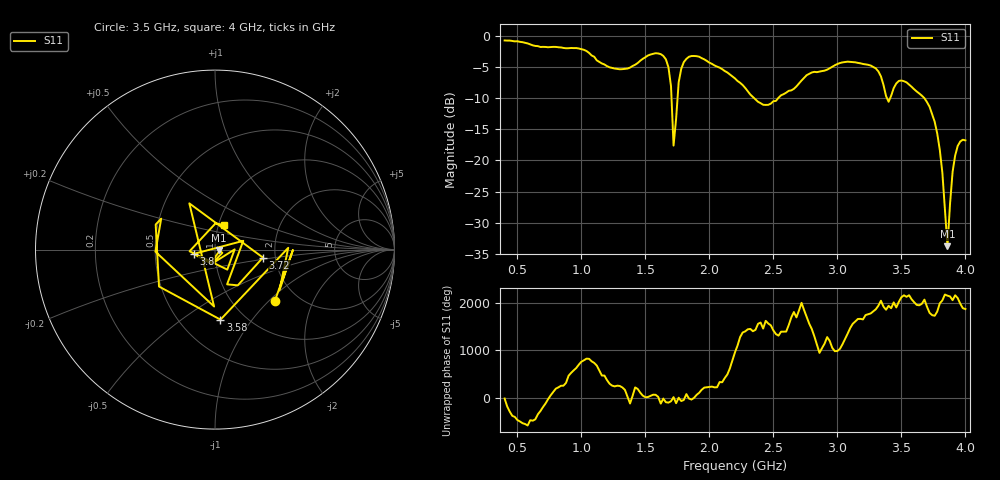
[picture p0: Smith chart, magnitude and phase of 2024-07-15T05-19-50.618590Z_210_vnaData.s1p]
!Created with skrf (http://scikit-rf.org).
# Hz S RI R 50.0
!freq ReS11 ImS11
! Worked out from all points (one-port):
!   181 points, 400 MHz to 4 GHz, reference 50 ohm
!   lowest |S11| = -33.8 dB at 3.86 GHz (marker M1), VSWR 1.04, Z = 52.1 - j0.291 ohm
!   |S11| at or under -10 dB: 1.704 GHz to 1.751 GHz (47.04 MHz wide, 2.72 % of centre); 2.351 GHz to 2.536 GHz (185.1 MHz wide, 7.58 % of centre); 3.681 GHz to end of sweep (the widest 3 of 4)
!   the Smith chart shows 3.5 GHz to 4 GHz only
!   S11 on the Smith chart (normalised r, x): 3.5 GHz: 1.53, -1.09; 3.58 GHz: 0.78, -0.71; 3.72 GHz: 1.72, -0.16; 3.8 GHz: 0.79, -0.04; 4 GHz: 1.06, +0.30
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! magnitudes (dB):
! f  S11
! 400 MHz  -0.7
! 860 MHz  -1.9
! 1.3 GHz  -5.3
! 1.58 GHz  -2.7
! 1.66 GHz  -3.7
! 1.7 GHz  -8.0
! 1.72 GHz  -17.6
! 1.76 GHz  -7.4
! 1.8 GHz  -4.2
! 1.86 GHz  -3.2
! 2.2 GHz  -6.8
! 2.42 GHz  -11.0
! 2.66 GHz  -8.5
! 2.8 GHz  -5.8
! 3.1 GHz  -4.1
! 3.3 GHz  -5.2
! 3.4 GHz  -10.6
! 3.5 GHz  -7.1
! 3.56 GHz  -7.8
! 3.58 GHz  -8.1
! 3.72 GHz  -11.4
! 3.76 GHz  -13.8
! 3.8 GHz  -18.3
! 3.82 GHz  -22.0
! 3.86 GHz  -33.8
! 3.9 GHz  -21.8
! 3.92 GHz  -19.2
! 4 GHz  -16.8
